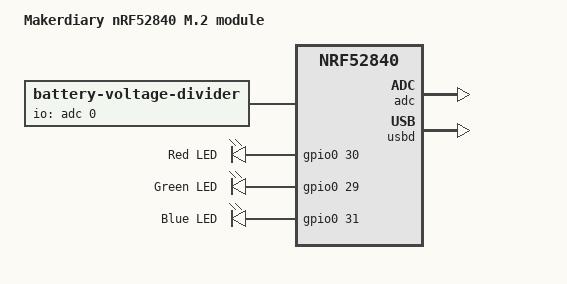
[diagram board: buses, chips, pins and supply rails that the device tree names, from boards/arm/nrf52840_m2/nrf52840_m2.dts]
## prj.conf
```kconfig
# CONFIG_ZMK_USB_LOGGING=y
```

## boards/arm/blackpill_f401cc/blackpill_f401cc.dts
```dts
/*
 * Copyright (c) Mega Mind
 *
 * SPDX-License-Identifier: Apache-2.0
 */

/dts-v1/;
#include <st/f4/stm32f401Xc.dtsi>

/ {
	model = "WeAct Studio Black Pill V3.0 Board F401";
	compatible = "weact,blackpill-f401cc","st,stm32f401";

	chosen {
		zephyr,sram = &sram0;
		zephyr,flash = &flash0;
	};

	leds {
		compatible = "gpio-leds";
		user_led: led {
			gpios = <&gpioc 13 GPIO_ACTIVE_LOW>;
			label = "User LED";
		};
	};

	gpio_keys {
		compatible = "gpio-keys";
		user_button: button {
			label = "KEY";
			gpios = <&gpioa 0 (GPIO_ACTIVE_LOW | GPIO_PULL_UP)>;
		};
	};

	aliases {
		led0 = &user_led;
		sw0 = &user_button;
	};
};

&rtc {
	status = "okay";
};

&usbotg_fs {
	status = "okay";
};

&flash0 {
	/*
	 * For more information, see:
	 * https://docs.zephyrproject.org/latest/guides/dts/legacy-macros.html#legacy-flash-partitions
	 */
	partitions {
		compatible = "fixed-partitions";
		#address-cells = <1>;
		#size-cells = <1>;

		storage_partition: partition@3e800 {
			label = "storage";
			reg = <0x0003e800 0x00001800>;
		};
	};
};
```

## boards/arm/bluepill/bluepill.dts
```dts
/*
 * Copyright (c) 2020, Mega Mind
 *
 * SPDX-License-Identifier: Apache-2.0
 */

/dts-v1/;
#include <st/f1/stm32f103X8.dtsi>

/ {
	model = "WeAct Studio Blue Pill v1.0 Board F103";
	compatible = "st,stm32f103c8";

	chosen {
		zephyr,console = &usart1;
		zephyr,sram = &sram0;
		zephyr,flash = &flash0;
	};

	leds {
		compatible = "gpio-leds";
		led: led {
			gpios = <&gpiob 2 GPIO_ACTIVE_HIGH>;
			label = "LD";
		};
	};

	gpio_keys {
		compatible = "gpio-keys";
		user_button: button {
				 label = "KEY";
				 gpios = <&gpioa 0 (GPIO_ACTIVE_LOW | GPIO_PULL_UP)>;
			 };
	};

	aliases {
		led0 = &led;
	};
};

&usart1 {
	current-speed = <115200>;
	status = "okay";
};

&i2c1 {
	status = "disabled";
	clock-frequency = <I2C_BITRATE_FAST>;
};

&timers1 {
	status = "disabled";

	pwm1: pwm {
		status = "okay";
	};
};

&usb {
	status = "okay";
};
```

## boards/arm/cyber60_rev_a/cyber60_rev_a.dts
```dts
/*
 * Copyright (c) 2020 Stefan Sundin (4pplet)
 *
 * SPDX-License-Identifier: MIT
 */

/dts-v1/;
#include <nordic/nrf52840_qiaa.dtsi>
#include <dt-bindings/zmk/matrix_transform.h>
/ {
	model = "CYBER60_REV_A";
	compatible = "cyber60", "Rev A";

	chosen {
		zephyr,code-partition = &code_partition;
		zephyr,sram = &sram0;
		zephyr,flash = &flash0;
		zmk,kscan = &kscan0;
		zmk,matrix_transform = &default_transform;
	};

	vbatt {
		compatible = "zmk,battery-voltage-divider";
		label = "BATTERY";
		io-channels = <&adc 1>;
		output-ohms = <100000>;
		full-ohms = <(100000 + 100000)>;
		power-gpios = <&gpio1 15 GPIO_ACTIVE_HIGH>;
	};
	
	leds {
		compatible = "gpio-leds";
		led_1: led_red {
			gpios = <&gpio1 13 GPIO_ACTIVE_LOW>;
			label = "Red LED";
		};
		led_0: led_green {
			gpios = <&gpio0 28 GPIO_ACTIVE_LOW>;
			label = "Green LED";
		};
		led_2: led_blue { // also broken out on header con307 on cyber60-2 Rev A1 for debug
			gpios = <&gpio0 5 GPIO_ACTIVE_LOW>;
			label = "Blue LED";
		};
	};
		pwmleds {
		compatible = "pwm-leds";
		pwm_led_0: pwm_led_green {
			pwms = <&pwm0 28>;
			label = "Green PWM LED";
			status = "okay";
		};
		pwm_led_1: pwm_led_red {
			pwms = <&pwm1 13>;
			label = "Red PWM LED";
			status = "okay";
		};
		pwm_led_2: pwm_led_blue {
			pwms = <&pwm0 5>;
			label = "Blue PWM LED";
			status = "okay";
		};
	};

	/* These aliases are provided for compatibility with samples */
	aliases {
		ledgreen = &led_0;
		ledred   = &led_1;
		ledblue  = &led_2;
		pwmledgreen = &pwm_led_0;
		pwmledred = &pwm_led_1;
		pwmledblue = &pwm_led_2;
	};

	default_transform: keymap_transform_0 {
		compatible = "zmk,matrix-transform";
		columns = <11>;
		rows = <6>;
		map = <
RC(0,0) RC(0,1) RC(1,1) RC(0,2) RC(0,3) RC(0,4) RC(1,4) RC(0,5) RC(0,6) RC(0,7) RC(1,7) RC(0,8) RC(0,9) RC(0,10) RC(1,10)
RC(1,0)   RC(2,1) RC(1,2) RC(2,2) RC(1,3) RC(2,4) RC(1,5) RC(1,6) RC(2,6) RC(2,7) RC(1,8) RC(1,9) RC(2,9)   RC(3,10)
RC(2,0)     RC(3,1) RC(3,2) RC(2,3) RC(3,3) RC(3,4) RC(2,5) RC(3,6) RC(4,6) RC(3,7) RC(2,8) RC(3,9)          RC(2,10)
RC(3,0)       RC(4,0) RC(4,1) RC(4,2) RC(4,3) RC(4,4) RC(3,5) RC(4,5) RC(5,6) RC(4,7)    RC(3,8)     RC(4,8) RC(4,9) RC(4,10)
RC(5,0)   RC(5,1)   RC(5,2)  RC(5,3)                    RC(5,4)                     RC(5,5) RC(5,7) RC(5,8) RC(5,9) RC(5,10)
		>;
	};

	kscan0: kscan {
		compatible = "zmk,kscan-gpio-matrix";
		label = "KSCAN";

		diode-direction = "col2row";
		row-gpios
			= <&gpio0 7  (GPIO_ACTIVE_HIGH | GPIO_PULL_DOWN)>
			, <&gpio0 21 (GPIO_ACTIVE_HIGH | GPIO_PULL_DOWN)>
			, <&gpio0 23 (GPIO_ACTIVE_HIGH | GPIO_PULL_DOWN)>
			, <&gpio1 9 (GPIO_ACTIVE_HIGH | GPIO_PULL_DOWN)>
			, <&gpio0 12 (GPIO_ACTIVE_HIGH | GPIO_PULL_DOWN)>
			, <&gpio1 11 (GPIO_ACTIVE_HIGH | GPIO_PULL_DOWN)>
			;
		col-gpios
			= <&gpio0 2  GPIO_ACTIVE_HIGH>
			, <&gpio1 10  GPIO_ACTIVE_HIGH>
			, <&gpio0 4  GPIO_ACTIVE_HIGH>
			, <&gpio0 19 GPIO_ACTIVE_HIGH>
			, <&gpio1 4 GPIO_ACTIVE_HIGH>
			, <&gpio0 22  GPIO_ACTIVE_HIGH>
			, <&gpio1 6 GPIO_ACTIVE_HIGH>
			, <&gpio1 2  GPIO_ACTIVE_HIGH>
			, <&gpio1 1  GPIO_ACTIVE_HIGH>
			, <&gpio1 3  GPIO_ACTIVE_HIGH>
			, <&gpio1 0  GPIO_ACTIVE_HIGH>
			;
	};
};

&gpio0 {
	status = "okay";
};

&gpio1 {
	status = "okay";
};

&adc {
	status = "okay";
};

&usbd {
	status = "okay";
};

&flash0 {
	/*
	 * For more information, see:
	 * http://docs.zephyrproject.org/latest/devices/dts/flash_partitions.html
	 */
	partitions {
		compatible = "fixed-partitions";
		#address-cells = <1>;
		#size-cells = <1>;

		sd_partition: partition@0 {
			label = "softdevice";
			reg = <0x00000000 0x00026000>;
		};
		code_partition: partition@26000 {
			label = "code_partition";
			reg = <0x00026000 0x000c6000>;
		};

		/*
		 * The flash starting at 0x000ec000 and ending at
		 * 0x000f3fff is reserved for use by the application.
		 */

		/*
		 * Storage partition will be used by FCB/LittleFS/NVS
		 * if enabled.
		 */
		storage_partition: partition@ec000 {
			label = "storage";
			reg = <0x000ec000 0x00008000>;
		};

		boot_partition: partition@f4000 {
			label = "adafruit_boot";
			reg = <0x000f4000 0x0000c000>;
		};
	};
};
```

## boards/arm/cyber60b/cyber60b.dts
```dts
/*
 * Copyright (c) 2020 Stefan Sundin (4pplet)
 *
 * SPDX-License-Identifier: MIT
 */

/dts-v1/;
#include <nordic/nrf52840_qiaa.dtsi>
#include <dt-bindings/zmk/matrix_transform.h>
/ {
	model = "CYBER60B";
	compatible = "cyber60", "Rev B";

	chosen {
		zephyr,code-partition = &code_partition;
		zephyr,sram = &sram0;
		zephyr,flash = &flash0;
		zmk,kscan = &kscan0;
		zmk,matrix_transform = &default_transform;
		zmk,underglow = &led_strip;
	};

	vbatt {
		compatible = "zmk,battery-voltage-divider";
		label = "BATTERY";
		io-channels = <&adc 1>;
		output-ohms = <2000000>;
		full-ohms = <(1000000 + 2000000)>;
	};

	sensors {
    	compatible = "zmk,keymap-sensors";
    	sensors = <&encoder>;
	};

	encoder: encoder_1 {
        compatible = "alps,ec11";
        label = "ENCODER";
        a-gpios = <&gpio0 9 (GPIO_ACTIVE_HIGH | GPIO_PULL_UP)>;
        b-gpios = <&gpio0 10 (GPIO_ACTIVE_HIGH | GPIO_PULL_UP)>;
        resolution = <2>;
    };
	leds {
			compatible = "gpio-leds";
			led_0: led_green {
				gpios = <&gpio0 28 GPIO_ACTIVE_LOW>;
				label = "Green LED";
				status = "okay";
			};
			led_1: led_red {
				gpios = <&gpio0 2 GPIO_ACTIVE_LOW>;
				label = "Red LED";
				status = "okay";
			};
			led_2: led_blue {
				gpios = <&gpio0 4 GPIO_ACTIVE_LOW>;
				label = "Blue LED";
				status = "okay";
			};
		};

	pwmleds {
		compatible = "pwm-leds";
		pwm_led_0: pwm_led_green {
			pwms = <&pwm0 28>;
			label = "Green PWM LED";
			status = "okay";
		};
		pwm_led_1: pwm_led_red {
			pwms = <&pwm0 2>;
			label = "Red PWM LED";
			status = "okay";
		};
		pwm_led_2: pwm_led_blue {
			pwms = <&pwm0 4>;
			label = "Blue PWM LED";
			status = "okay";
		};
	};

	// currently unused. Buzzer on pin P0.29
	pwm_buzzer {
		compatible = "pwm_buzzer";
		pwms = <&pwm0 29>;
		label = "PWM BUZZER";
		status = "okay";
	};

	/* These aliases are provided for compatibility with samples */
	aliases {
		ledgreen = &led_0;
		ledred   = &led_1;
		ledblue  = &led_2;
		pwmledgreen = &pwm_led_0;
		pwmledred = &pwm_led_1;
		pwmledblue = &pwm_led_2;
	};

	ext-power {
		compatible = "zmk,ext-power-generic";
		label = "EXT_POWER";
		control-gpios = <&gpio0 7 GPIO_ACTIVE_LOW>;
	};

	default_transform: keymap_transform_0 {
		compatible = "zmk,matrix-transform";
		columns = <7>;
		rows = <10>;
		map = <
RC(0,0) RC(1,0) RC(0,1) RC(1,1) RC(0,2) RC(1,2) RC(0,3) RC(1,3) RC(0,4) RC(1,4) RC(0,5) RC(1,5) RC(0,6) RC(1,6) RC(3,6)
RC(2,0) RC(3,0) RC(2,1) RC(3,1) RC(2,2) RC(3,2) RC(2,3) RC(3,3) RC(2,4) RC(3,4) RC(2,5) RC(3,5) RC(2,6) RC(5,6)
RC(4,0) RC(5,0) RC(4,1) RC(5,1) RC(4,2) RC(5,2) RC(4,3) RC(5,3) RC(4,4) RC(5,4) RC(4,5) RC(5,5)  RC(4,6) RC(7,6)
RC(6,0) RC(7,0) RC(6,1) RC(7,1) RC(6,2) RC(7,2) RC(6,3) RC(7,3) RC(6,4) RC(7,4)    RC(6,5)     RC(7,5) RC(8,6) RC(6,6)
RC(8,0) RC(9,0) RC(8,1) RC(9,1) RC(8,3) RC(9,3) RC(8,4) RC(9,4) RC(8,5)  RC(9,5) // RC(8,2) and RC(9,2) can be implemented, exposed on CON307 on the PCB.
RC(9,6) // rotary sw
		>;
	};
	kscan0: kscan {
		compatible = "zmk,kscan-gpio-matrix";
		label = "KSCAN";

		diode-direction = "col2row";
		row-gpios
			= <&gpio0 5  (GPIO_ACTIVE_HIGH | GPIO_PULL_DOWN)>
			, <&gpio1 9 (GPIO_ACTIVE_HIGH | GPIO_PULL_DOWN)>
			, <&gpio0 12 (GPIO_ACTIVE_HIGH | GPIO_PULL_DOWN)>
			, <&gpio0 23 (GPIO_ACTIVE_HIGH | GPIO_PULL_DOWN)>
			, <&gpio0 22 (GPIO_ACTIVE_HIGH | GPIO_PULL_DOWN)>
			, <&gpio1 0 (GPIO_ACTIVE_HIGH | GPIO_PULL_DOWN)>
			, <&gpio0 21 (GPIO_ACTIVE_HIGH | GPIO_PULL_DOWN)>
			, <&gpio1 2 (GPIO_ACTIVE_HIGH | GPIO_PULL_DOWN)>
			, <&gpio1 10 (GPIO_ACTIVE_HIGH | GPIO_PULL_DOWN)>
			, <&gpio1 11 (GPIO_ACTIVE_HIGH | GPIO_PULL_DOWN)>
			;
		col-gpios
			= <&gpio1 13  GPIO_ACTIVE_HIGH>
			, <&gpio1 15  GPIO_ACTIVE_HIGH>
			, <&gpio0 19  GPIO_ACTIVE_HIGH>
			, <&gpio1 4 GPIO_ACTIVE_HIGH>
			, <&gpio1 1 GPIO_ACTIVE_HIGH>
			, <&gpio1 3  GPIO_ACTIVE_HIGH>
			, <&gpio1 6 GPIO_ACTIVE_HIGH>
			;
	};
};

&gpio0 {
	status = "okay";
};

&gpio1 {
	status = "okay";
};

&adc {
	status = "okay";
};

&usbd {
	status = "okay";
};

&spi0 {
	// Underglow data: P0.31
  compatible = "nordic,nrf-spim";
  status = "okay";
  mosi-pin = <31>;
  // Unused pins, needed for SPI definition, but not used by the ws2812 driver itself.
  sck-pin = <6>;
  miso-pin = <8>;

  led_strip: ws2812@0 {
    compatible = "worldsemi,ws2812-spi";
    label = "WS2812";

    /* SPI */
    reg = <0>; /* ignored, but necessary for SPI bindings */
    spi-max-frequency = <4000000>;

    /* WS2812 */
    chain-length = <16>; /* number of LEDs */
    spi-one-frame = <0x70>;
    spi-zero-frame = <0x40>;
  };
};

&flash0 {
	/*
	 * For more information, see:
	 * http://docs.zephyrproject.org/latest/devices/dts/flash_partitions.html
	 */
	partitions {
		compatible = "fixed-partitions";
		#address-cells = <1>;
		#size-cells = <1>;

		sd_partition: partition@0 {
			label = "softdevice";
			reg = <0x00000000 0x00026000>;
		};
		code_partition: partition@26000 {
			label = "code_partition";
			reg = <0x00026000 0x000c6000>;
		};

		/*
		 * The flash starting at 0x000ec000 and ending at
		 * 0x000f3fff is reserved for use by the application.
		 */

		/*
		 * Storage partition will be used by FCB/LittleFS/NVS
		 * if enabled.
		 */
		storage_partition: partition@ec000 {
			label = "storage";
			reg = <0x000ec000 0x00008000>;
		};

		boot_partition: partition@f4000 {
			label = "adafruit_boot";
			reg = <0x000f4000 0x0000c000>;
		};
	};
};
```

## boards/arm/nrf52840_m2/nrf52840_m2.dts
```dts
/*
 * Copyright (c) 2020 The ZMK Contributors
 *
 * SPDX-License-Identifier: MIT
 */

/dts-v1/;
#include <nordic/nrf52840_qiaa.dtsi>

/ {
	model = "Makerdiary nRF52840 M.2 module";
	compatible = "makerdiary,nrf52840_m2";

	chosen {
		zephyr,code-partition = &code_partition;
		zephyr,sram = &sram0;
		zephyr,flash = &flash0;
	};

	vbatt {
		compatible = "zmk,battery-voltage-divider";
		label = "BATTERY";
		io-channels = <&adc 0>;
		output-ohms = <1000000>;
		full-ohms = <(1000000 + 1000000)>;
	};

	leds {
		compatible = "gpio-leds";
		red_led: led_0 {
			gpios = <&gpio0 30 GPIO_ACTIVE_HIGH>;
			label = "Red LED";
		};
		green_led: led_1 {
			gpios = <&gpio0 29 GPIO_ACTIVE_HIGH>;
			label = "Green LED";
		};
		blue_led: led_2 {
			gpios = <&gpio0 31 GPIO_ACTIVE_HIGH>;
			label = "Blue LED";
		};
	};

};

&adc {
	status = "okay";
};

&gpiote {
	status = "okay";
};

&gpio0 {
	status = "okay";
};

&gpio1 {
	status = "okay";
};

&usbd {
	compatible = "nordic,nrf-usbd";
	status = "okay";
};


&flash0 {
	/*
	 * For more information, see:
	 * http://docs.zephyrproject.org/latest/devices/dts/flash_partitions.html
	 */
	partitions {
		compatible = "fixed-partitions";
		#address-cells = <1>;
		#size-cells = <1>;

		sd_partition: partition@0 {
			label = "softdevice";
			reg = <0x00000000 0x00026000>;
		};
		code_partition: partition@26000 {
			label = "code_partition";
			reg = <0x00026000 0x000c6000>;
		};

		/*
		 * The flash starting at 0x000ec000 and ending at
		 * 0x000f3fff is reserved for use by the application.
		 */

		/*
		 * Storage partition will be used by FCB/LittleFS/NVS
		 * if enabled.
		 */
		storage_partition: partition@ec000 {
			label = "storage";
			reg = <0x000ec000 0x00008000>;
		};

		boot_partition: partition@f4000 {
			label = "adafruit_boot";
			reg = <0x000f4000 0x0000c000>;
		};
	};
};
```

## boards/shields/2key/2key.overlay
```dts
/*
 * Copyright (c) 2020 Mega Mind
 *
 * SPDX-License-Identifier: MIT
 */

#include <dt-bindings/zmk/matrix-transform.h>

/ {
	chosen {
		zmk,kscan = &kscan0;
	};

	kscan0: kscan {
		compatible = "zmk,kscan-gpio-direct";
		label = "KSCAN";

		input-gpios
			= <&gpioa 0 (GPIO_PULL_DOWN | GPIO_ACTIVE_HIGH)>
			, <&gpioa 1 (GPIO_PULL_DOWN | GPIO_ACTIVE_HIGH)>
			;
	};
};
```

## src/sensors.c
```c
/*
 * Copyright (c) 2020 The ZMK Contributors
 *
 * SPDX-License-Identifier: MIT
 */

#include <drivers/sensor.h>
#include <devicetree.h>
#include <init.h>

#include <logging/log.h>

LOG_MODULE_DECLARE(zmk, CONFIG_ZMK_LOG_LEVEL);

#include <zmk/sensors.h>
#include <zmk/event_manager.h>
#include <zmk/events/sensor_event.h>

#if ZMK_KEYMAP_HAS_SENSORS

struct sensors_data_item {
    uint8_t sensor_number;
    const struct device *dev;
    struct sensor_trigger trigger;
};

#define _SENSOR_ITEM(node)                                                                         \
    {.dev = NULL, .trigger = {.type = SENSOR_TRIG_DELTA, .chan = SENSOR_CHAN_ROTATION}},
#define SENSOR_ITEM(idx, _)                                                                        \
    COND_CODE_1(DT_NODE_HAS_STATUS(ZMK_KEYMAP_SENSORS_BY_IDX(idx), okay),                          \
                (_SENSOR_ITEM(ZMK_KEYMAP_SENSORS_BY_IDX(idx))), ())

static struct sensors_data_item sensors[] = {UTIL_LISTIFY(ZMK_KEYMAP_SENSORS_LEN, SENSOR_ITEM, 0)};

static void zmk_sensors_trigger_handler(const struct device *dev, struct sensor_trigger *trigger) {
    int err;
    struct sensors_data_item *item = CONTAINER_OF(trigger, struct sensors_data_item, trigger);

    LOG_DBG("Fetching sensor %d", item->sensor_number);

    err = sensor_sample_fetch(dev);
    if (err) {
        LOG_WRN("Failed to fetch sample from device %d", err);
        return;
    }

    ZMK_EVENT_RAISE(new_zmk_sensor_event((struct zmk_sensor_event){
        .sensor_number = item->sensor_number, .sensor = dev, .timestamp = k_uptime_get()}));
}

static void zmk_sensors_init_item(const char *node, uint8_t i, uint8_t abs_i) {
    LOG_DBG("Init %s at index %d with sensor_number %d", node, i, abs_i);

    sensors[i].dev = device_get_binding(node);
    sensors[i].sensor_number = abs_i;

    if (!sensors[i].dev) {
        LOG_WRN("Failed to find device for %s", node);
        return;
    }

    sensor_trigger_set(sensors[i].dev, &sensors[i].trigger, zmk_sensors_trigger_handler);
}

#define _SENSOR_INIT(node) zmk_sensors_init_item(DT_LABEL(node), local_index++, absolute_index++);
#define SENSOR_INIT(idx, _i)                                                                       \
    COND_CODE_1(DT_NODE_HAS_STATUS(ZMK_KEYMAP_SENSORS_BY_IDX(idx), okay),                          \
                (_SENSOR_INIT(ZMK_KEYMAP_SENSORS_BY_IDX(idx))), (absolute_index++;))

static int zmk_sensors_init(const struct device *_arg) {
    int local_index = 0;
    int absolute_index = 0;

    UTIL_LISTIFY(ZMK_KEYMAP_SENSORS_LEN, SENSOR_INIT, 0)
    return 0;
}

SYS_INIT(zmk_sensors_init, APPLICATION, CONFIG_APPLICATION_INIT_PRIORITY);

#endif /* ZMK_KEYMAP_HAS_SENSORS */
```
